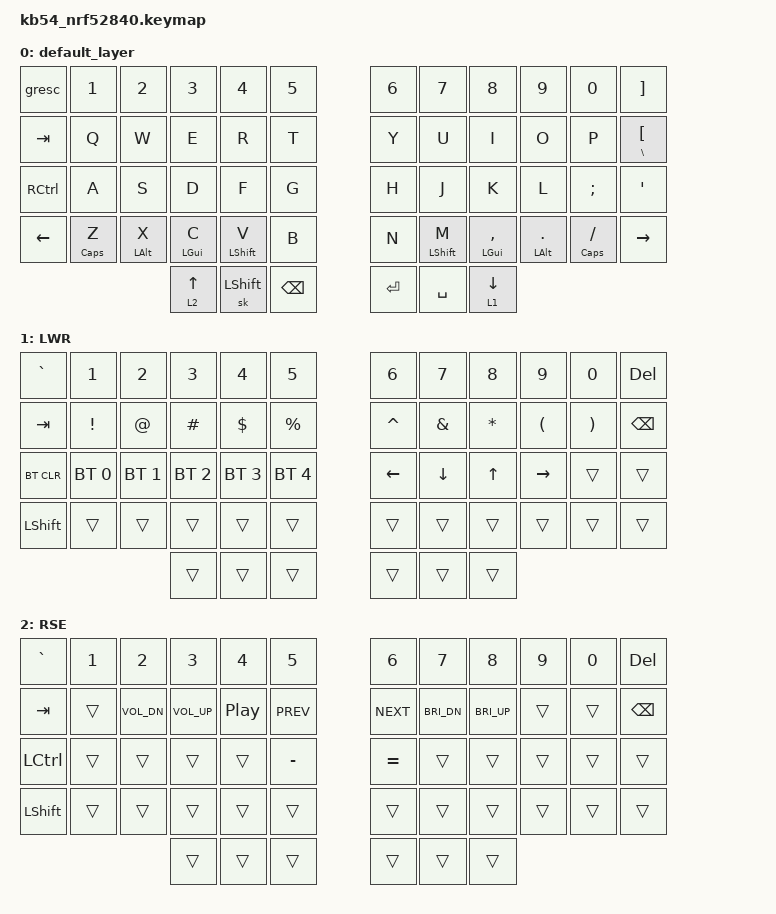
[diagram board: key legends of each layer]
/*
 * Copyright (c) 2020 The ZMK Contributors
 *
 * SPDX-License-Identifier: MIT
 */

#include <behaviors.dtsi>
#include <dt-bindings/zmk/bt.h>
#include <dt-bindings/zmk/keys.h>

&sk {
    release-after-ms = <1500>;
    quick-release;
};

/ {
    behaviors {
        hrml: hrml {
            compatible = "zmk,behavior-hold-tap";
            label = "HRM Left";
            bindings = <&kp>, <&kp>;

            #binding-cells = <2>;
            quick-tap-ms = <175>;
            tapping-term-ms = <200>;
            require-prior-idle-ms = <95>;
            flavor = "balanced";
            hold-trigger-on-release;
            hold-trigger-key-positions = <31 32 33 34 6 7 8 9 10 11 18 19 20 21 22 23 30 31 32 33 34 35 42 43 44 45 46 47 51 52 53 48 49 50>;
        };

        hrmr: hrmr {
            compatible = "zmk,behavior-hold-tap";
            label = "HRM Right";
            bindings = <&kp>, <&kp>;

            #binding-cells = <2>;
            quick-tap-ms = <175>;
            tapping-term-ms = <200>;
            require-prior-idle-ms = <95>;
            flavor = "balanced";
            hold-trigger-on-release;
            hold-trigger-key-positions = <25 26 27 28 0 1 2 3 4 5 12 13 14 15 16 17 24 25 26 27 28 29 36 37 38 39 40 41 48 49 50 51 52 53>;
        };

        Arrows: Arrows {
            compatible = "zmk,behavior-hold-tap";
            label = "ARROWS";
            bindings = <&kp>, <&kp>;

            #binding-cells = <2>;
            tapping-term-ms = <350>;
            quick-tap-ms = <300>;
            require-prior-idle-ms = <95>;
        };

        Arrows_layers: Arrows_layers {
            compatible = "zmk,behavior-hold-tap";
            label = "ARROWS_LAYERS";
            bindings = <&mo>, <&kp>;

            #binding-cells = <2>;
            tapping-term-ms = <350>;
            quick-tap-ms = <300>;
            require-prior-idle-ms = <95>;
        };
    };

    combos {
        compatible = "zmk,combos";

        combo_pageup {
            bindings = <&kp PAGE_UP>;
            key-positions = <51 52>;
        };

        combo_pagedown {
            bindings = <&kp PAGE_DOWN>;
            key-positions = <52 53>;
        };

        combo_home {
            bindings = <&kp HOME>;
            key-positions = <40 41>;
        };

        combo_end {
            bindings = <&kp END>;
            key-positions = <42 43>;
        };
    };

    macros {
        macro_double_semicolon: macro_double_semicolon {
            compatible = "zmk,behavior-macro";
            #binding-cells = <0>;
            bindings = <&kp Z &kp Z>;
            label = "MACRO_DOUBLE_SEMICOLON";
        };
    };

    keymap {
        compatible = "zmk,keymap";

        default_layer {
            // -----------------------------------------------------------------------------------------
            // | ESC  |  1  |  2  |  3  |  4  |  5  |   |  6  |  7   |  8  |  9  |  0  |  \   |
            // | TAB  |  Q  |  W  |  E  |  R  |  T  |   |  Y  |  U   |  I  |  O  |  P  |  [   |
            // | CTRL |  A  |  S  |  D  |  F  |  G  |   |  H  |  J   |  K  |  L  |  ;  |  '   |
            // | SHFT |  Z  |  X  |  C  |  V  |  B  |   |  N  |  M   |  ,  |  .  |  /  |  ]   |
            //                    | LWR | GUI | BSPC|   | ENT | SPC  | RSE |

            bindings = <
&gresc             &kp N1        &kp N2            &kp N3                     &kp N4              &kp N5           &kp N6     &kp N7              &kp N8                 &kp N9              &kp N0               &kp RIGHT_BRACKET
&kp TAB            &kp Q         &kp W             &kp E                      &kp R               &kp T            &kp Y      &kp U               &kp I                  &kp O               &kp P                &mt BSLH LBKT
&kp RIGHT_CONTROL  &kp A         &kp S             &kp D                      &kp F               &kp G            &kp H      &kp J               &kp K                  &kp L               &kp SEMI             &kp SQT
&kp LEFT           &hrml CAPS Z  &hrml LEFT_ALT X  &hrml LEFT_GUI C           &hrml LEFT_SHIFT V  &kp B            &kp N      &hrmr LEFT_SHIFT M  &hrmr LEFT_GUI COMMA   &hrmr LEFT_ALT DOT  &hrmr CAPSLOCK FSLH  &kp RIGHT
                                                   &Arrows_layers 2 UP_ARROW  &sk LEFT_SHIFT      &kp BACKSPACE    &kp ENTER  &kp SPACE           &Arrows_layers 1 DOWN
            >;
        };

        lower_layer {
            display-name = "LWR";
            label = "LWR";

            // -----------------------------------------------------------------------------------------
            // |   `  |  1  |  2  |  3  |  4  |  5  |   |  6  |  7  |  8  |  9  |  0  |  DEL |
            // |  TAB |  !  |  @  |  #  |  $  |  %  |   |  ^  |  &  |  *  |  (  |  )  | BSPC |
            // | BTCLR| BT1 | BT2 | BT3 | BT4 | BT5 |   | LFT | DWN |  UP | RGT |     |      |
            // | SHFT |     |     |     |     |     |   |     |     |     |     |     |      |
            //                    | GUI |     | SPC |   | ENT |     | ALT |

            bindings = <
&kp GRAVE   &kp N1        &kp N2        &kp N3        &kp N4        &kp N5          &kp N6     &kp N7    &kp N8     &kp N9     &kp N0    &kp DEL
&kp TAB     &kp EXCL      &kp AT        &kp HASH      &kp DLLR      &kp PRCNT       &kp CARET  &kp AMPS  &kp ASTRK  &kp LPAR   &kp RPAR  &kp BSPC
&bt BT_CLR  &bt BT_SEL 0  &bt BT_SEL 1  &bt BT_SEL 2  &bt BT_SEL 3  &bt BT_SEL 4    &kp LEFT   &kp DOWN  &kp UP     &kp RIGHT  &trans    &trans
&kp LSHFT   &trans        &trans        &trans        &trans        &trans          &trans     &trans    &trans     &trans     &trans    &trans
                                        &trans        &trans        &trans          &trans     &trans    &trans
            >;
        };

        raise_layer {
            display-name = "RSE";
            label = "RSE";

            // -----------------------------------------------------------------------------------------
            // |   `  |  1  |  2  |  3  |  4  |  5  |   |  6  |  7  |  8  |  9  |  0  |  DEL |
            // |  TAB |     |VOL- |VOL+ | P/P | PRV |   | NXT | BR- | BR+ |  (  |  )  | BSPC |
            // | CTRL |     |     |     |     |     |   |  -  |  =  |  [  |  ]  |  \  |  `   |
            // | SHFT |     |     |     |     |     |   |  _  |  +  |  {  |  }  | "|" |  ~   |
            //                    | GUI |     | SPC |   | ENT |     | ALT |

            bindings = <
&kp GRAVE  &kp N1  &kp N2        &kp N3        &kp N4    &kp N5        &kp N6      &kp N7        &kp N8        &kp N9  &kp N0  &kp DEL
&kp TAB    &trans  &kp C_VOL_DN  &kp C_VOL_UP  &kp C_PP  &kp C_PREV    &kp C_NEXT  &kp C_BRI_DN  &kp C_BRI_UP  &trans  &trans  &kp BSPC
&kp LCTRL  &trans  &trans        &trans        &trans    &kp MINUS     &kp EQUAL   &trans        &trans        &trans  &trans  &trans
&kp LSHFT  &trans  &trans        &trans        &trans    &trans        &trans      &trans        &trans        &trans  &trans  &trans
                                 &trans        &trans    &trans        &trans      &trans        &trans
            >;
        };
    };
};
